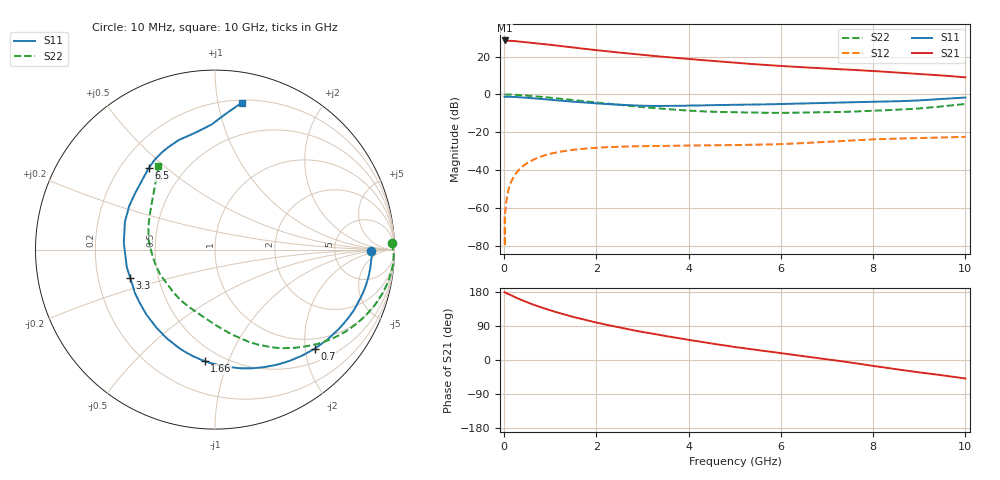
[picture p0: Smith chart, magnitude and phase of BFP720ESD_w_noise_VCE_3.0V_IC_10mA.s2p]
! Infineon Technologies  Discrete & RF Semiconductors
! BFP720ESD
! VCE =  3.0 V,  IC =  10 mA
! Common Emitter S-Parameters:  Jan 2016
# GHz  S  MA  R  50
!  f  S11  S21  S12  S22
! GHz  MAG  ANG  MAG  ANG  MAG  ANG  MAG  ANG
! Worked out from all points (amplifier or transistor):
!   233 points, 10 MHz to 10 GHz, reference 50 ohm
!   highest |S21| = 28.5 dB at 10 MHz (marker M1)
!   |S21| within 3 dB of that: start of sweep to 1.251 GHz
!   unconditionally stable (mu >= 1): 5.149 GHz to 7.892 GHz; 8.149 GHz to 8.777 GHz
!   at 200 MHz: K = 0.08, MSG = 36.0 dB, |S12| = -43.7 dB
!   at 1.74 GHz: K = 0.39, MSG = 26.3 dB, |S12| = -28.6 dB
!   at 10 GHz: K = 0.70, MSG = 15.7 dB, |S12| = -22.3 dB
!   lowest NFmin = 0.67 dB at 450 MHz
!   S11 on the Smith chart (normalised r, x): 10 MHz: 14, -1; 700 MHz: 0.77, -2.20; 1.66 GHz: 0.41, -0.83; 3.3 GHz: 0.34, -0.14; 6.5 GHz: 0.32, +0.44; 10 GHz: 0.22, +1.17
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0.01  0.8702 -0.4  26.62 179.2  0.0006 -111.9  0.987 2.1
0.015  0.8732 -0.9  26.46 178.7  0.0001 139.9  0.9891 0.9
0.02  0.8762 -1.3  26.3 178.1  0.0007 85.4  0.9916 -0.3
0.085  0.8715 -5.6  26.2 174.6  0.0028 86.3  0.9958 -3.4
0.34  0.846 -22.6  24.97 160.2  0.0109 76.4  0.9664 -14.1
0.5  0.8193 -32.7  23.87 152.3  0.0156 70.6  0.9365 -20.2
0.7  0.7832 -44.8  22.51 143.2  0.0208 63.8  0.8935 -27.2
0.9  0.7461 -56.3  21.13 134.9  0.0253 57.7  0.8477 -33.7
1.14  0.7024 -69.4  19.53 125.8  0.0298 51.2  0.7902 -40.8
1.66  0.6238 -95.2  16.46 108.5  0.0365 39.7  0.6782 -54.0
1.68  0.6213 -96.1  16.36 107.9  0.0367 39.4  0.6745 -54.5
2  0.5839 -110.0  14.78 98.8  0.0393 34.2  0.6171 -61.2
2.44  0.5396 -128.7  12.98 87.2  0.0418 28.1  0.5436 -70.3
2.84  0.5136 -144.9  11.58 77.6  0.043 23.9  0.4849 -78.1
3.3  0.498 -161.6  10.25 67.8  0.0439 20.5  0.4332 -86.8
3.4  0.4986 -165.2  9.993 65.6  0.044 19.8  0.4236 -88.8
4  0.5094 175.7  8.675 53.1  0.045 17.1  0.3767 -101.3
5.1  0.5371 151.4  6.738 32.8  0.0466 14.6  0.3385 -126.1
6.5  0.585 129.2  5.211 9.8  0.0522 15.0  0.3356 -155.5
6.8  0.5967 125.4  4.969 5.1  0.0545 14.8  0.3381 -161.4
8.4  0.6558 101.2  3.873 -22.6  0.068 6.1  0.3912 161.5
10  0.831 79.7  2.831 -49.0  0.0764 -4.1  0.5643 124.0
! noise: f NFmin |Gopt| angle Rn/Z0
0.45  0.67  0.27  4  0.12
0.9  0.71  0.26  10  0.13
1.9  0.73  0.22  23  0.12
2.4  0.74  0.2  27  0.13
5.5  0.92  0.03  -166  0.1
10  1.37  0.51  -92  0.38
